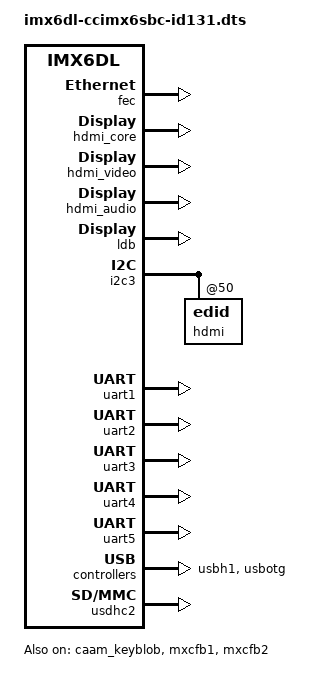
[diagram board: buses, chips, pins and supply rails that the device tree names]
/*
 * Copyright 2016 Digi International, Inc.
 *
 * The code contained herein is licensed under the GNU General Public
 * License. You may obtain a copy of the GNU General Public License
 * Version 2 or later at the following locations:
 *
 * http://www.opensource.org/licenses/gpl-license.html
 * http://www.gnu.org/copyleft/gpl.html
 */

/dts-v1/;
#include <dt-bindings/gpio/gpio.h>
/* i.MX6 DualLite/Solo CPU */
#include "imx6dl.dtsi"
/* ConnectCore 6 (DualLite/Solo wireless/bluetooth variant) */
#include "imx6dl-ccimx6-wb.dtsi"
/* ConnectCore 6 DualLite/Solo SBC carrier board */
#include "imx6dl-ccimx6sbc.dtsi"

&fec {
	status = "okay";
};

&hdmi_core {
	status = "okay";
};

&hdmi_video {
	status = "okay";
};

&hdmi_audio {
	status = "okay";
};

&sound_hdmi {
	status = "okay";
};

&caam_keyblob {
	status = "okay";
};

&ldb {
	status = "okay";

	lvds-channel@0 {
		status = "okay";
	};
};

&mxcfb1 {
	status = "okay";
};

&mxcfb2 {
	status = "okay";
};

&i2c3 {
	status = "okay";

	hdmi: edid@50 {
		status = "okay";
	};
};

&uart1 {
	status = "okay";
};

&uart2 {
	status = "okay";
};

&uart3 {
	status = "okay";
};

&uart4 {
	status = "okay";
};

&uart5 {
	status = "okay";
};

&usbh1 {
	status = "okay";
};

&usbotg {
	status = "okay";
};

&usdhc2 {
	status = "okay";
};

&v4l2_out {
        status = "okay";
};
